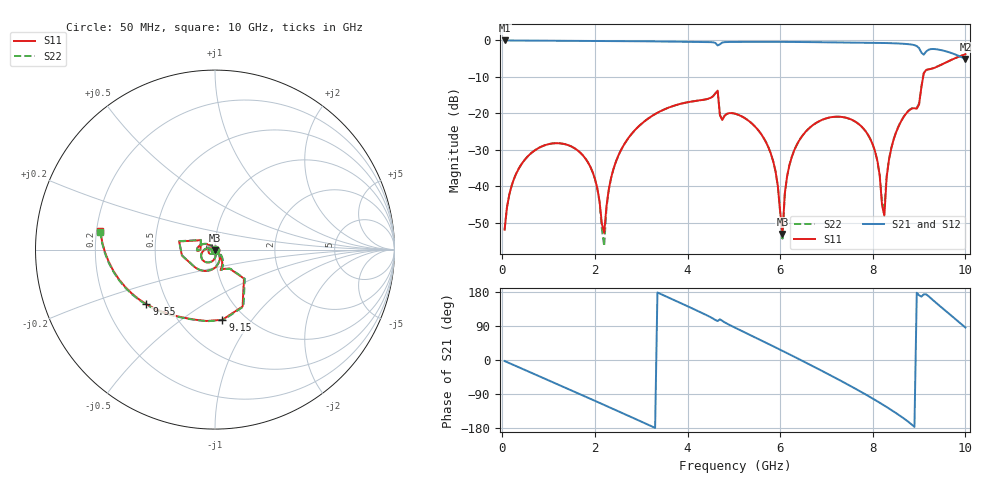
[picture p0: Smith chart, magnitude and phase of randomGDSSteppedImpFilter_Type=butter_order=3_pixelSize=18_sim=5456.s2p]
! freq	dB(S11)	phase(S11)	dB(S12)	phase(S12)
!  dB(S21)	phase(S21)	dB(S22)	phase(S22)
!S-par simulation data
#  GHz  S  DB  R 50
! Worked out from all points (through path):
!   200 points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, 50 MHz to 10 GHz, reference 50 ohm
!   highest |S21| = -0.01 dB at 50 MHz (marker M1); lowest = -5.1 dB at 10 GHz (marker M2)
!   group delay of S21, straight-line fit = 169 ps
!   lowest |S11| = -53.1 dB at 6.05 GHz (marker M3), VSWR 1.00, Z = 50 - j0.216 ohm
!   |S11| at or under -10 dB: start of sweep to 9.088 GHz
!   |S22| runs from -56.5 to -3.8 dB; largest |S21 - S12| = 0
!   S11 on the Smith chart (normalised r, x): 50 MHz: 1.00, -0.01; 9.15 GHz: 0.79, -0.73; 9.55 GHz: 0.38, -0.30; 10 GHz: 0.22, +0.08
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0.05  -51.94 -81.0  -0.01 -2.7  -0.01 -2.7  -51.97 -81.1
0.2  -39.95 -98.0  -0.02 -10.8  -0.02 -10.8  -39.95 -97.9
0.6  -31.20 -122.4  -0.05 -32.3  -0.05 -32.3  -31.20 -122.2
1.75  -31.69 172.3  -0.11 -94.2  -0.11 -94.2  -31.69 173.9
2.05  -40.46 149.0  -0.13 -110.4  -0.13 -110.4  -40.55 154.7
2.2  -52.80 31.6  -0.14 -118.6  -0.14 -118.6  -56.47 16.2
2.3  -40.81 -22.8  -0.15 -124.0  -0.15 -124.0  -40.99 -29.9
2.5  -31.79 -41.1  -0.17 -135.0  -0.17 -135.0  -31.82 -43.9
3.4  -19.52 -93.6  -0.28 175.4  -0.28 175.4  -19.52 -94.6
4.65  -13.78 167.2  -1.37 102.8  -1.37 102.8  -13.75 166.8
5.05  -20.20 174.6  -0.41 83.8  -0.41 83.8  -20.20 173.6
5.8  -31.10 132.2  -0.39 39.3  -0.39 39.3  -31.10 130.3
6.05  -53.14 -101.3  -0.40 24.2  -0.40 24.2  -54.42 -78.1
6.2  -34.22 -76.2  -0.41 15.0  -0.41 15.0  -34.26 -75.1
6.7  -23.31 -105.1  -0.46 -15.9  -0.46 -15.9  -23.32 -105.6
7.85  -25.00 -179.7  -0.62 -91.2  -0.62 -91.2  -25.03 176.9
8.1  -33.07 164.3  -0.66 -109.1  -0.66 -109.1  -33.10 153.8
8.25  -48.16 -49.0  -0.70 -120.2  -0.70 -120.2  -45.81 9.9
8.35  -32.77 -40.8  -0.73 -127.9  -0.73 -127.9  -32.58 -29.0
9.15  -8.10 -84.0  -3.08 173.6  -3.08 173.6  -8.07 -83.1
9.55  -6.22 -141.5  -2.88 132.1  -2.88 132.1  -6.22 -140.6
10  -3.78 170.6  -5.08 85.7  -5.08 85.7  -3.78 171.3
